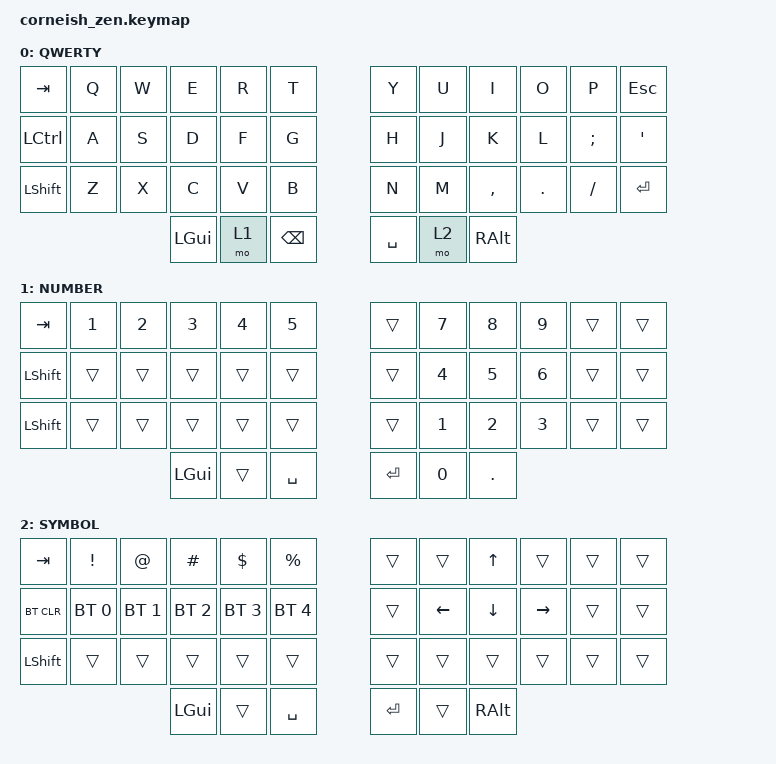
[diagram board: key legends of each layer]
#include <behaviors.dtsi>
#include <dt-bindings/zmk/keys.h>
#include <dt-bindings/zmk/bt.h>

/ {
  chosen {
    zmk,matrix_transform = &default_transform;
    //zmk,matrix_transform = &five_column_transform;
  };
};

/ {
        keymap {
                compatible = "zmk,keymap";

                default_layer {
                        label = "QWERTY";
// -----------------------------------------------------------------------------------------
// |  TAB |  Q  |  W  |  E  |  R  |  T  |   |  Y  |  U   |  I  |  O  |  P  | BKSP |
// | CTRL |  A  |  S  |  D  |  F  |  G  |   |  H  |  J   |  K  |  L  |  ;  |  '   |
// | SHFT |  Z  |  X  |  C  |  V  |  B  |   |  N  |  M   |  ,  |  .  |  /  | ENT  |
//                    | GUI | LWR | SPC |   | ENT | RSE  | ALT |
                        bindings = <
   &kp TAB   &kp Q &kp W &kp E &kp R &kp T   &kp Y &kp U  &kp I     &kp O   &kp P    &kp ESC
   &kp LCTRL &kp A &kp S &kp D &kp F &kp G   &kp H &kp J  &kp K     &kp L   &kp SEMI &kp SQT
   &kp LSHFT &kp Z &kp X &kp C &kp V &kp B   &kp N &kp M  &kp COMMA &kp DOT &kp FSLH &kp RET
                  &kp LGUI &mo 1 &kp BKSP   &kp SPACE &mo 2 &kp RALT
                        >;
                };
                lower_layer {
                        label = "NUMBER";
// -----------------------------------------------------------------------------------------
// |  TAB |  1  |  2  |  3  |  4  |  5  |   |  6  |  7  |  8  |  9  |  0  | BKSP |
// | BTCLR| BT1 | BT2 | BT3 | BT4 | BT5 |   | LFT | DWN |  UP | RGT |     |      |
// | SHFT |     |     |     |     |     |   |     |     |     |     |     |      |
//                    | GUI |     | SPC |   | ENT |     | ALT |
                        bindings = <
   &kp TAB    &kp N1       &kp N2       &kp N3       &kp N4       &kp N5         &trans   &kp N7   &kp N8 &kp N9    &trans &trans
   &kp LSHFT  &trans       &trans       &trans       &trans       &trans         &trans   &kp N4   &kp N5 &kp N6    &trans &trans
   &kp LSHFT  &trans       &trans       &trans       &trans       &trans         &trans   &kp N1   &kp N2 &kp N3    &trans &trans
                          	        &kp LGUI     &trans       &kp SPACE      &kp RET  &kp N0   &kp DOT
                        >;
                };

                raise_layer {
                        label = "SYMBOL";
// -----------------------------------------------------------------------------------------
// |  TAB |  !  |  @  |  #  |  $  |  %  |   |  ^  |  &  |  *  |  (  |  )  | BKSP |
// | CTRL |     |     |     |     |     |   |  -  |  =  |  [  |  ]  |  \  |  `   |
// | SHFT |     |     |     |     |     |   |  _  |  +  |  {  |  }  | "|" |  ~   |
//                    | GUI |     | SPC |   | ENT |     | ALT |
                        bindings = <
   &kp  TAB   &kp EXCL     &kp AT       &kp HASH     &kp DLLR     &kp PRCNT         &trans   &trans   &kp UP  &trans    &trans &trans
   &bt BT_CLR &bt BT_SEL 0 &bt BT_SEL 1 &bt BT_SEL 2 &bt BT_SEL 3 &bt BT_SEL 4      &trans   &kp LEFT &kp DOWN &kp RIGHT &trans &trans
   &kp LSHFT  &trans       &trans       &trans       &trans       &trans            &trans   &trans   &trans &trans    &trans &trans
                    	     &kp LGUI &trans   &kp SPACE   &kp RET   &trans    &kp RALT
                        >;
                };
        };
};
